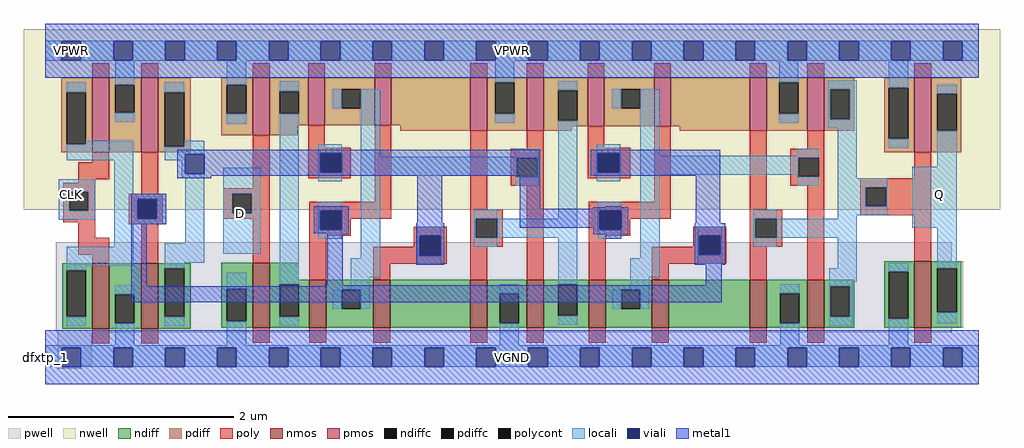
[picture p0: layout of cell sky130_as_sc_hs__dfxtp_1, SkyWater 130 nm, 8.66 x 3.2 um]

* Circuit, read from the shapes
.subckt sky130_as_sc_hs__dfxtp_1 VNB VPB VPWR VGND CLK Q D
XM1 VGND CLK n1 VNB sky130_fd_pr__nfet_01v8 w=0.58 l=0.15
XM2 n2 n1 VGND VNB sky130_fd_pr__nfet_01v8 w=0.58 l=0.15
XM3 n3 D VGND VNB sky130_fd_pr__nfet_01v8 w=0.58 l=0.15
XM4 n4 n1 n3 VNB sky130_fd_pr__nfet_01v8 w=0.43 l=0.15
XM5 n5 n2 n4 VNB sky130_fd_pr__nfet_01v8 w=0.43 l=0.15
XM6 VGND n6 n5 VNB sky130_fd_pr__nfet_01v8 w=0.43 l=0.15
XM7 n6 n4 VGND VNB sky130_fd_pr__nfet_01v8 w=0.43 l=0.15
XM8 n7 n2 n6 VNB sky130_fd_pr__nfet_01v8 w=0.43 l=0.15
XM9 n8 n1 n7 VNB sky130_fd_pr__nfet_01v8 w=0.43 l=0.15
XM10 VGND n9 n8 VNB sky130_fd_pr__nfet_01v8 w=0.43 l=0.15
XM11 n9 n7 VGND VNB sky130_fd_pr__nfet_01v8 w=0.43 l=0.15
XM12 Q n9 VGND VNB sky130_fd_pr__nfet_01v8 w=0.59 l=0.15
XM13 VPWR CLK n1 VPB sky130_fd_pr__pfet_01v8 w=0.66 l=0.15
XM14 n2 n1 VPWR VPB sky130_fd_pr__pfet_01v8 w=0.66 l=0.15
XM15 n3 D VPWR VPB sky130_fd_pr__pfet_01v8 w=0.51 l=0.15
XM16 n4 n2 n3 VPB sky130_fd_pr__pfet_01v8 w=0.42 l=0.15
XM17 n10 n1 n4 VPB sky130_fd_pr__pfet_01v8 w=0.42 l=0.15
XM18 VPWR n6 n10 VPB sky130_fd_pr__pfet_01v8 w=0.47 l=0.15
XM19 n6 n4 VPWR VPB sky130_fd_pr__pfet_01v8 w=0.47 l=0.15
XM20 n7 n1 n6 VPB sky130_fd_pr__pfet_01v8 w=0.43 l=0.15
XM21 n11 n2 n7 VPB sky130_fd_pr__pfet_01v8 w=0.43 l=0.15
XM22 VPWR n9 n11 VPB sky130_fd_pr__pfet_01v8 w=0.47 l=0.15
XM23 n9 n7 VPWR VPB sky130_fd_pr__pfet_01v8 w=0.47 l=0.15
XM24 Q n9 VPWR VPB sky130_fd_pr__pfet_01v8 w=0.66 l=0.15
.ends

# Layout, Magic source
magic
tech sky130A
magscale 1 2
<< nwell >>
rect -38 262 1694 582
<< pwell >>
rect 18 170 1608 204
rect 18 52 1629 170
rect 18 48 1608 52
rect 22 44 1608 48
rect 22 -15 82 44
rect 22 -20 64 -15
<< nmos >>
rect 83 51 113 167
rect 170 51 200 167
rect 368 52 398 168
rect 468 52 498 138
rect 582 52 612 138
rect 754 52 784 138
rect 854 52 884 138
rect 964 52 994 138
rect 1076 52 1106 138
rect 1250 52 1280 138
rect 1352 52 1382 138
rect 1542 52 1572 170
<< pmos >>
rect 83 364 113 496
rect 170 364 200 496
rect 368 394 398 496
rect 466 412 496 496
rect 584 412 614 496
rect 754 402 784 496
rect 854 402 884 496
rect 962 410 992 496
rect 1080 410 1110 496
rect 1250 402 1280 496
rect 1352 402 1382 496
rect 1542 364 1572 496
<< ndiff >>
rect 30 154 83 167
rect 30 72 38 154
rect 72 72 83 154
rect 30 51 83 72
rect 113 112 170 167
rect 113 60 124 112
rect 158 60 170 112
rect 113 51 170 60
rect 200 158 258 167
rect 200 72 212 158
rect 246 72 258 158
rect 200 51 258 72
rect 312 122 368 168
rect 312 64 322 122
rect 356 64 368 122
rect 312 52 368 64
rect 398 138 450 168
rect 1489 152 1542 170
rect 398 130 468 138
rect 398 72 416 130
rect 450 72 468 130
rect 398 52 468 72
rect 498 120 582 138
rect 498 86 526 120
rect 560 86 582 120
rect 498 52 582 86
rect 612 52 754 138
rect 784 114 854 138
rect 784 60 806 114
rect 840 60 854 114
rect 784 52 854 60
rect 884 130 964 138
rect 884 74 910 130
rect 944 74 964 130
rect 884 52 964 74
rect 994 120 1076 138
rect 994 86 1022 120
rect 1056 86 1076 120
rect 994 52 1076 86
rect 1106 52 1250 138
rect 1280 114 1352 138
rect 1280 60 1304 114
rect 1338 60 1352 114
rect 1280 52 1352 60
rect 1382 126 1435 138
rect 1382 72 1393 126
rect 1427 72 1435 126
rect 1382 52 1435 72
rect 1489 68 1497 152
rect 1531 68 1542 152
rect 1489 52 1542 68
rect 1572 158 1625 170
rect 1572 80 1583 158
rect 1617 80 1625 158
rect 1572 52 1625 80
<< pdiff >>
rect 28 470 83 496
rect 28 378 38 470
rect 72 378 83 470
rect 28 364 83 378
rect 113 484 170 496
rect 113 434 124 484
rect 158 434 170 484
rect 113 364 170 434
rect 200 470 258 496
rect 200 374 212 470
rect 246 374 258 470
rect 312 484 368 496
rect 312 432 322 484
rect 356 432 368 484
rect 312 394 368 432
rect 398 472 466 496
rect 398 432 416 472
rect 450 432 466 472
rect 398 412 466 432
rect 496 476 584 496
rect 496 442 526 476
rect 560 442 584 476
rect 496 412 584 442
rect 614 412 754 496
rect 398 394 448 412
rect 200 364 258 374
rect 630 402 754 412
rect 784 488 854 496
rect 784 432 798 488
rect 832 432 854 488
rect 784 402 854 432
rect 884 474 962 496
rect 884 420 910 474
rect 944 420 962 474
rect 884 410 962 420
rect 992 476 1080 496
rect 992 442 1022 476
rect 1056 442 1080 476
rect 992 410 1080 442
rect 1110 410 1250 496
rect 884 402 934 410
rect 1126 402 1250 410
rect 1280 488 1352 496
rect 1280 432 1302 488
rect 1336 432 1352 488
rect 1280 402 1352 432
rect 1382 476 1435 496
rect 1382 422 1393 476
rect 1427 422 1435 476
rect 1382 402 1435 422
rect 1489 478 1542 496
rect 1489 388 1497 478
rect 1531 388 1542 478
rect 1489 364 1542 388
rect 1572 468 1625 496
rect 1572 402 1583 468
rect 1617 402 1625 468
rect 1572 364 1625 402
<< ndiffc >>
rect 38 72 72 154
rect 124 60 158 112
rect 212 72 246 158
rect 322 64 356 122
rect 416 72 450 130
rect 526 86 560 120
rect 806 60 840 114
rect 910 74 944 130
rect 1022 86 1056 120
rect 1304 60 1338 114
rect 1393 72 1427 126
rect 1497 68 1531 152
rect 1583 80 1617 158
<< pdiffc >>
rect 38 378 72 470
rect 124 434 158 484
rect 212 374 246 470
rect 322 432 356 484
rect 416 432 450 472
rect 526 442 560 476
rect 798 432 832 488
rect 910 420 944 474
rect 1022 442 1056 476
rect 1302 432 1336 488
rect 1393 422 1427 476
rect 1497 388 1531 478
rect 1583 402 1617 468
<< poly >>
rect 83 496 113 522
rect 170 496 200 522
rect 368 496 398 522
rect 466 496 496 522
rect 584 496 614 522
rect 754 496 784 522
rect 854 496 884 522
rect 962 496 992 522
rect 1080 496 1110 522
rect 1250 496 1280 522
rect 1352 496 1382 522
rect 1542 496 1572 522
rect 83 346 113 364
rect 58 316 113 346
rect 58 310 88 316
rect 32 294 88 310
rect 32 260 42 294
rect 76 260 88 294
rect 170 290 200 364
rect 368 300 398 394
rect 466 372 496 412
rect 466 362 542 372
rect 466 328 488 362
rect 526 328 542 362
rect 466 318 542 328
rect 316 290 398 300
rect 32 240 88 260
rect 58 212 88 240
rect 148 280 208 290
rect 148 246 164 280
rect 198 246 208 280
rect 316 256 332 290
rect 366 256 398 290
rect 584 276 614 412
rect 316 246 398 256
rect 148 236 208 246
rect 58 182 113 212
rect 83 167 113 182
rect 170 167 200 236
rect 368 168 398 246
rect 468 260 614 276
rect 468 226 488 260
rect 526 246 614 260
rect 754 262 784 402
rect 854 370 884 402
rect 826 354 884 370
rect 826 320 836 354
rect 874 320 884 354
rect 826 304 884 320
rect 962 372 992 410
rect 962 362 1038 372
rect 962 328 980 362
rect 1018 328 1038 362
rect 962 318 1038 328
rect 754 246 812 262
rect 526 226 542 246
rect 468 216 542 226
rect 654 216 712 232
rect 468 138 498 216
rect 654 196 664 216
rect 582 182 664 196
rect 702 182 712 216
rect 582 166 712 182
rect 754 212 764 246
rect 802 212 812 246
rect 754 196 812 212
rect 582 138 612 166
rect 754 138 784 196
rect 854 138 884 304
rect 1080 276 1110 410
rect 964 260 1110 276
rect 964 226 984 260
rect 1022 246 1110 260
rect 1250 262 1280 402
rect 1352 370 1382 402
rect 1322 354 1382 370
rect 1322 320 1336 354
rect 1372 320 1382 354
rect 1322 304 1382 320
rect 1542 318 1572 364
rect 1250 246 1308 262
rect 1022 226 1038 246
rect 964 216 1038 226
rect 1150 216 1208 232
rect 964 138 994 216
rect 1150 196 1160 216
rect 1076 182 1160 196
rect 1198 182 1208 216
rect 1076 166 1208 182
rect 1250 212 1260 246
rect 1298 212 1308 246
rect 1250 196 1308 212
rect 1076 138 1106 166
rect 1250 138 1280 196
rect 1352 138 1382 304
rect 1446 302 1572 318
rect 1446 268 1456 302
rect 1492 268 1572 302
rect 1446 252 1572 268
rect 1542 170 1572 252
rect 83 25 113 51
rect 170 25 200 51
rect 368 26 398 52
rect 468 26 498 52
rect 582 26 612 52
rect 754 26 784 52
rect 854 26 884 52
rect 964 26 994 52
rect 1076 26 1106 52
rect 1250 26 1280 52
rect 1352 26 1382 52
rect 1542 26 1572 52
<< polycont >>
rect 42 260 76 294
rect 488 328 526 362
rect 164 246 198 280
rect 332 256 366 290
rect 488 226 526 260
rect 836 320 874 354
rect 980 328 1018 362
rect 664 182 702 216
rect 764 212 802 246
rect 984 226 1022 260
rect 1336 320 1372 354
rect 1160 182 1198 216
rect 1260 212 1298 246
rect 1456 268 1492 302
<< locali >>
rect 0 561 1656 562
rect 0 527 29 561
rect 63 527 121 561
rect 155 527 213 561
rect 247 527 305 561
rect 339 527 397 561
rect 431 527 489 561
rect 523 527 581 561
rect 615 527 673 561
rect 707 527 765 561
rect 799 527 857 561
rect 891 527 949 561
rect 983 527 1041 561
rect 1075 527 1133 561
rect 1167 527 1225 561
rect 1259 527 1317 561
rect 1351 527 1409 561
rect 1443 527 1501 561
rect 1535 527 1593 561
rect 1627 527 1656 561
rect 0 526 1656 527
rect 38 470 72 488
rect 124 484 158 526
rect 124 418 158 434
rect 212 470 246 488
rect 72 378 156 384
rect 38 350 156 378
rect 322 484 356 526
rect 322 414 356 432
rect 416 472 450 490
rect 798 488 832 526
rect 510 442 526 476
rect 246 374 282 384
rect 212 360 282 374
rect 212 350 248 360
rect 24 294 88 316
rect 24 260 42 294
rect 76 260 88 294
rect 24 244 88 260
rect 122 290 156 350
rect 242 326 248 350
rect 242 318 282 326
rect 122 280 214 290
rect 122 246 164 280
rect 198 246 214 280
rect 122 236 214 246
rect 122 196 156 236
rect 248 202 282 318
rect 38 162 156 196
rect 212 168 282 202
rect 316 290 382 336
rect 316 256 332 290
rect 366 256 382 290
rect 316 184 382 256
rect 38 154 72 162
rect 212 158 246 168
rect 38 56 72 72
rect 124 112 158 128
rect 124 21 158 60
rect 212 56 246 72
rect 322 122 356 150
rect 322 21 356 64
rect 416 130 450 432
rect 484 362 526 378
rect 484 328 488 362
rect 484 312 526 328
rect 560 356 594 476
rect 798 416 832 432
rect 910 474 944 490
rect 1302 488 1336 526
rect 1006 442 1022 476
rect 834 356 876 370
rect 560 354 876 356
rect 560 322 836 354
rect 484 260 526 276
rect 484 226 488 260
rect 484 210 526 226
rect 560 176 594 322
rect 834 320 836 322
rect 874 320 876 354
rect 834 304 876 320
rect 760 246 802 262
rect 910 246 944 420
rect 978 362 1020 378
rect 978 328 980 362
rect 1018 328 1020 362
rect 978 312 1020 328
rect 1056 358 1090 476
rect 1302 416 1336 432
rect 1388 476 1440 492
rect 1388 422 1393 476
rect 1427 422 1440 476
rect 1388 406 1440 422
rect 1334 358 1372 370
rect 1056 354 1372 358
rect 1056 324 1336 354
rect 542 142 594 176
rect 660 216 702 232
rect 660 180 664 216
rect 760 212 764 246
rect 802 212 944 246
rect 760 196 802 212
rect 660 166 702 180
rect 542 120 576 142
rect 910 130 944 212
rect 980 260 1022 276
rect 980 226 984 260
rect 980 210 1022 226
rect 1056 176 1090 324
rect 1334 320 1336 324
rect 1334 304 1372 320
rect 1406 318 1440 406
rect 1497 478 1531 526
rect 1497 372 1531 388
rect 1583 468 1617 484
rect 1583 338 1617 402
rect 1406 302 1494 318
rect 1406 268 1456 302
rect 1492 268 1494 302
rect 1256 246 1298 262
rect 1406 252 1494 268
rect 1406 246 1440 252
rect 510 86 526 120
rect 560 86 576 120
rect 806 114 840 130
rect 416 56 450 72
rect 806 21 840 60
rect 1038 142 1090 176
rect 1158 216 1200 232
rect 1158 182 1160 216
rect 1198 182 1200 216
rect 1256 212 1260 246
rect 1298 212 1440 246
rect 1538 230 1617 338
rect 1256 196 1298 212
rect 1158 166 1200 182
rect 1406 158 1440 212
rect 1038 120 1072 142
rect 1391 134 1440 158
rect 1497 152 1531 168
rect 1006 86 1022 120
rect 1056 86 1072 120
rect 1304 114 1338 130
rect 910 58 944 74
rect 1304 21 1338 60
rect 1391 126 1432 134
rect 1391 72 1393 126
rect 1427 72 1432 126
rect 1391 56 1432 72
rect 1497 21 1531 68
rect 1583 158 1617 230
rect 1583 60 1617 80
rect 0 17 1656 21
rect 0 -17 29 17
rect 63 -17 121 17
rect 155 -17 213 17
rect 247 -17 305 17
rect 339 -17 397 17
rect 431 -17 489 17
rect 523 -17 581 17
rect 615 -17 673 17
rect 707 -17 765 17
rect 799 -17 857 17
rect 891 -17 949 17
rect 983 -17 1041 17
rect 1075 -17 1133 17
rect 1167 -17 1225 17
rect 1259 -17 1317 17
rect 1351 -17 1409 17
rect 1443 -17 1501 17
rect 1535 -17 1593 17
rect 1627 -17 1656 17
<< viali >>
rect 29 527 63 561
rect 121 527 155 561
rect 213 527 247 561
rect 305 527 339 561
rect 397 527 431 561
rect 489 527 523 561
rect 581 527 615 561
rect 673 527 707 561
rect 765 527 799 561
rect 857 527 891 561
rect 949 527 983 561
rect 1041 527 1075 561
rect 1133 527 1167 561
rect 1225 527 1259 561
rect 1317 527 1351 561
rect 1409 527 1443 561
rect 1501 527 1535 561
rect 1593 527 1627 561
rect 248 326 282 360
rect 164 246 198 280
rect 488 328 526 362
rect 488 226 526 260
rect 980 328 1018 362
rect 664 182 702 216
rect 664 180 702 182
rect 984 226 1022 260
rect 1160 182 1198 216
rect 29 -17 63 17
rect 121 -17 155 17
rect 213 -17 247 17
rect 305 -17 339 17
rect 397 -17 431 17
rect 489 -17 523 17
rect 581 -17 615 17
rect 673 -17 707 17
rect 765 -17 799 17
rect 857 -17 891 17
rect 949 -17 983 17
rect 1041 -17 1075 17
rect 1133 -17 1167 17
rect 1225 -17 1259 17
rect 1317 -17 1351 17
rect 1409 -17 1443 17
rect 1501 -17 1535 17
rect 1593 -17 1627 17
<< metal1 >>
rect 0 561 1656 592
rect 0 527 29 561
rect 63 527 121 561
rect 155 527 213 561
rect 247 527 305 561
rect 339 527 397 561
rect 431 527 489 561
rect 523 527 581 561
rect 615 527 673 561
rect 707 527 765 561
rect 799 527 857 561
rect 891 527 949 561
rect 983 527 1041 561
rect 1075 527 1133 561
rect 1167 527 1225 561
rect 1259 527 1317 561
rect 1351 527 1409 561
rect 1443 527 1501 561
rect 1535 527 1593 561
rect 1627 527 1656 561
rect 0 496 1656 527
rect 234 362 878 368
rect 234 360 488 362
rect 234 326 248 360
rect 282 328 488 360
rect 526 328 878 362
rect 282 326 878 328
rect 234 322 878 326
rect 968 362 1198 368
rect 968 328 980 362
rect 1018 328 1198 362
rect 968 322 1198 328
rect 234 318 294 322
rect 152 280 214 290
rect 152 246 164 280
rect 198 246 214 280
rect 152 236 214 246
rect 476 260 538 268
rect 152 126 180 236
rect 476 226 488 260
rect 526 226 538 260
rect 660 238 704 322
rect 842 264 878 322
rect 994 266 1022 268
rect 972 264 1034 266
rect 842 260 1034 264
rect 476 220 538 226
rect 500 218 538 220
rect 500 128 528 218
rect 658 216 708 238
rect 842 230 984 260
rect 972 226 984 230
rect 1022 226 1034 260
rect 1154 238 1198 322
rect 972 218 1034 226
rect 658 180 664 216
rect 702 180 708 216
rect 994 210 1022 218
rect 1152 216 1206 238
rect 658 164 708 180
rect 1152 182 1160 216
rect 1198 182 1206 216
rect 1152 164 1206 182
rect 1172 128 1200 164
rect 494 126 1200 128
rect 152 98 1200 126
rect 0 17 1656 48
rect 0 -17 29 17
rect 63 -17 121 17
rect 155 -17 213 17
rect 247 -17 305 17
rect 339 -17 397 17
rect 431 -17 489 17
rect 523 -17 581 17
rect 615 -17 673 17
rect 707 -17 765 17
rect 799 -17 857 17
rect 891 -17 949 17
rect 983 -17 1041 17
rect 1075 -17 1133 17
rect 1167 -17 1225 17
rect 1259 -17 1317 17
rect 1351 -17 1409 17
rect 1443 -17 1501 17
rect 1535 -17 1593 17
rect 1627 -17 1656 17
rect 0 -48 1656 -17
<< labels >>
rlabel comment s 0 0 0 0 4 dfxtp_1
flabel locali s 29 272 63 306 0 FreeSans 400 0 0 0 CLK
port 5 nsew clock input
flabel locali s 329 238 363 272 0 FreeSans 200 0 0 0 D
port 7 nsew signal input
flabel locali s 1569 272 1603 306 0 FreeSans 200 0 0 0 Q
port 6 nsew signal output
flabel pwell s 29 -17 63 17 0 FreeSans 200 0 0 0 VNB
port 1 nsew ground bidirectional
flabel pwell s 46 0 46 0 0 FreeSans 200 0 0 0 VNB
flabel metal1 s 29 -17 63 17 0 FreeSans 200 0 0 0 VGND
port 4 nsew ground bidirectional abutment
flabel metal1 s 29 527 63 561 0 FreeSans 200 0 0 0 VPWR
port 3 nsew power bidirectional abutment
flabel nwell s 29 527 63 561 0 FreeSans 200 0 0 0 VPB
port 2 nsew power bidirectional
flabel nwell s 46 544 46 544 0 FreeSans 200 0 0 0 VPB
rlabel metal1 s 0 -48 1656 48 1 VGND
port 4 nsew ground bidirectional abutment
rlabel metal1 s 0 496 1656 592 1 VPWR
port 3 nsew power bidirectional abutment
<< properties >>
string FIXED_BBOX 0 0 1656 544
string GDS_FILE $PDKPATH/libs.ref/sky130_as_sc_hs/gds/sky130_as_sc_hs__dfxtp_1.gds
string LEFclass CORE
string LEFsite unithd
string LEFsymmetry X Y R90
<< end >>
